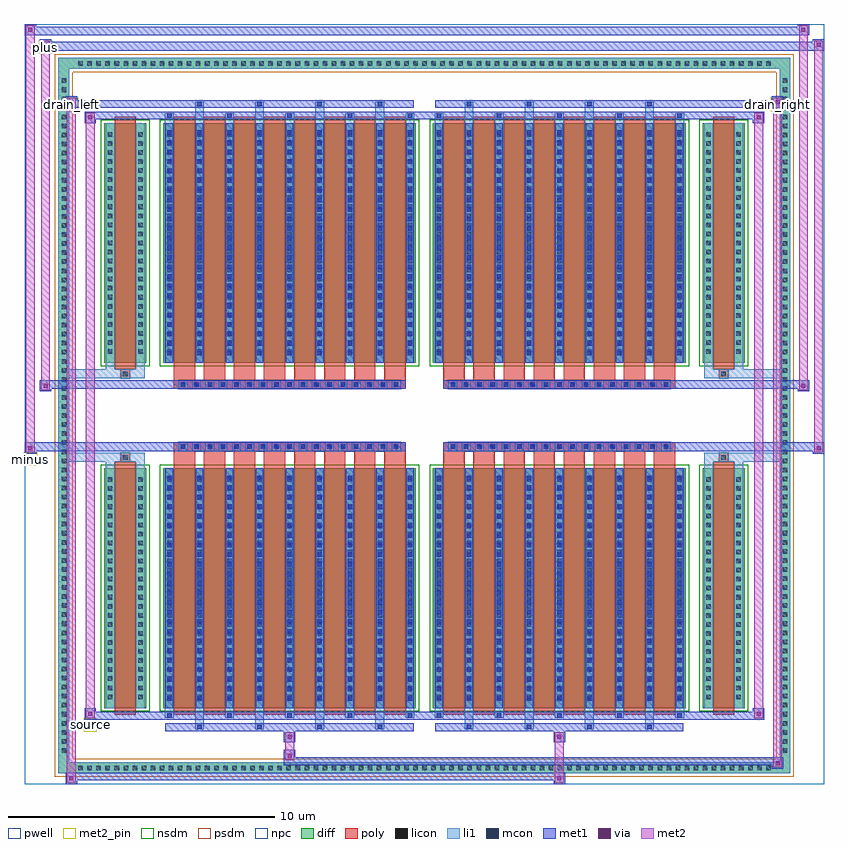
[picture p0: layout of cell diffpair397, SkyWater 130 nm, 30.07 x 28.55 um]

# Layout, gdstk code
import gdstk
lib = gdstk.Library(unit=1e-6, precision=5e-09)
def R(c, l, rs):  # rectangles x0, y0, x1, y1
    for r in rs: c.add(gdstk.rectangle(r[:2], r[2:], *l))
def A(c, l, x, y, w, h, nx, ny, dx, dy):  # array of equal rectangles
    R(c, l, [(x+i*dx, y+j*dy, x+i*dx+w, y+j*dy+h) for i in range(nx) for j in range(ny)])
def P(c, l, *ps):  # polygons
    for p in ps: c.add(gdstk.Polygon(p, *l))
pwell = (64, 44)
diff = (65, 20)
poly = (66, 20)
licon = (66, 44)
li1 = (67, 20)
mcon = (67, 44)
met1 = (68, 20)
via = (68, 44)
met2_pin = (69, 16)
met2 = (69, 20)
nsdm = (93, 44)
psdm = (94, 20)
npc = (95, 20)

diffpair397 = lib.new_cell('diffpair397')
R(diffpair397, pwell, [(-15.02,-13.84,15.02,14.71), (-12.34,-12.03,-0.01,-0.805), (0.01,-12.03,12.34,-0.805), (-12.34,0.805,-0.01,12.03), (0.01,0.805,12.34,12.03)])
A(diffpair397, diff, -13.125, -13.44, 0.41, 0.41, 77, 2, 0.34, 26.47)
A(diffpair397, diff, -13.75, -12.785, 0.41, 0.41, 1, 75, 0, 0.34)
A(diffpair397, diff, 13.34, -12.785, 0.41, 0.41, 1, 75, 0, 0.34)
R(diffpair397, diff, [(-13.125,-13.44,13.125,-13.03), (-13.75,-12.785,-13.34,12.785), (13.34,-12.785,13.75,12.785), (-12.03,-10.985,-10.45,-1.985), (-9.81,-10.985,-0.32,-1.985), (0.32,-10.985,9.81,-1.985), (10.45,-10.985,12.03,-1.985), (-12.03,1.985,-10.45,10.985), (-9.81,1.985,-0.32,10.985), (0.32,1.985,9.81,10.985), (10.45,1.985,12.03,10.985), (-13.125,13.03,13.125,13.44)])
P(diffpair397, diff, [(13.75,13.44),(-13.75,13.44),(-13.75,-13.03),(-13.34,-13.03),(-13.34,13.03),(13.34,13.03),(13.34,-13.03),(-13.34,-13.03),(-13.75,-13.03),(-13.75,-13.44),(13.75,-13.44)])
A(diffpair397, poly, -9.42, -11.235, 0.8, 9.5, 8, 2, 1.13, 12.97)
A(diffpair397, poly, 0.71, -11.235, 0.8, 9.5, 8, 2, 1.13, 12.97)
A(diffpair397, poly, -9.42, -1.735, 0.8, 0.4, 8, 2, 1.13, 3.07)
A(diffpair397, poly, 0.71, -1.735, 0.8, 0.4, 8, 2, 1.13, 3.07)
A(diffpair397, poly, -9.23, -1.335, 0.33, 0.33, 17, 2, 0.5, 2.34)
A(diffpair397, poly, 0.9, -1.335, 0.33, 0.33, 17, 2, 0.5, 2.34)
R(diffpair397, poly, [(-11.64,-11.235,-10.84,-1.735), (10.84,-11.235,11.64,-1.735), (-11.405,-1.735,-11.075,-1.405), (-11.405,-1.735,-11.075,-1.405), (11.075,-1.735,11.405,-1.405), (11.075,-1.735,11.405,-1.405), (-9.42,-1.335,-0.71,-1.005), (0.71,-1.335,9.42,-1.005), (-9.42,1.005,-0.71,1.335), (0.71,1.005,9.42,1.335), (-11.405,1.405,-11.075,1.735), (-11.405,1.405,-11.075,1.735), (11.075,1.405,11.405,1.735), (11.075,1.405,11.405,1.735), (-11.64,1.735,-10.84,11.235), (10.84,1.735,11.64,11.235)])
A(diffpair397, licon, -13.005, -13.32, 0.17, 0.17, 77, 2, 0.34, 26.47)
A(diffpair397, licon, -13.63, -12.665, 0.17, 0.17, 1, 75, 0, 0.34)
A(diffpair397, licon, 13.46, -12.665, 0.17, 0.17, 1, 75, 0, 0.34)
A(diffpair397, licon, -11.89, -10.65, 0.17, 0.17, 1, 25, 0, 0.34)
A(diffpair397, licon, -10.76, -10.65, 0.17, 0.17, 1, 25, 0, 0.34)
A(diffpair397, licon, -9.67, -10.65, 0.17, 0.17, 9, 25, 1.13, 0.34)
A(diffpair397, licon, 0.46, -10.65, 0.17, 0.17, 9, 25, 1.13, 0.34)
A(diffpair397, licon, 10.59, -10.65, 0.17, 0.17, 1, 25, 0, 0.34)
A(diffpair397, licon, 11.72, -10.65, 0.17, 0.17, 1, 25, 0, 0.34)
A(diffpair397, licon, -9.15, -1.255, 0.17, 0.17, 17, 2, 0.5, 2.34)
A(diffpair397, licon, 0.98, -1.255, 0.17, 0.17, 17, 2, 0.5, 2.34)
A(diffpair397, licon, -11.89, 2.32, 0.17, 0.17, 1, 25, 0, 0.34)
A(diffpair397, licon, -10.76, 2.32, 0.17, 0.17, 1, 25, 0, 0.34)
A(diffpair397, licon, -9.67, 2.32, 0.17, 0.17, 9, 25, 1.13, 0.34)
A(diffpair397, licon, 0.46, 2.32, 0.17, 0.17, 9, 25, 1.13, 0.34)
A(diffpair397, licon, 10.59, 2.32, 0.17, 0.17, 1, 25, 0, 0.34)
A(diffpair397, licon, 11.72, 2.32, 0.17, 0.17, 1, 25, 0, 0.34)
R(diffpair397, licon, [(-11.325,-1.655,-11.155,-1.485), (11.155,-1.655,11.325,-1.485), (-11.325,1.485,-11.155,1.655), (11.155,1.485,11.325,1.655)])
A(diffpair397, li1, -13.085, -13.4, 0.33, 0.33, 77, 2, 0.34, 26.47)
A(diffpair397, li1, -13.71, -12.745, 0.33, 0.33, 1, 75, 0, 0.34)
A(diffpair397, li1, 13.38, -12.745, 0.33, 0.33, 1, 75, 0, 0.34)
A(diffpair397, li1, -8.62, -11.79, 0.33, 0.805, 4, 2, 2.26, 22.775)
A(diffpair397, li1, -8.54, -11.79, 0.17, 0.17, 4, 2, 2.26, 23.41)
A(diffpair397, li1, 1.51, -11.79, 0.33, 0.805, 4, 2, 2.26, 22.775)
A(diffpair397, li1, 1.59, -11.79, 0.17, 0.17, 4, 2, 2.26, 23.41)
A(diffpair397, li1, -9.75, -11.36, 0.33, 0.375, 5, 2, 2.26, 22.345)
A(diffpair397, li1, -9.67, -11.36, 0.17, 0.17, 5, 2, 2.26, 22.55)
A(diffpair397, li1, 0.38, -11.36, 0.33, 0.375, 5, 2, 2.26, 22.345)
A(diffpair397, li1, 0.46, -11.36, 0.17, 0.17, 5, 2, 2.26, 22.55)
A(diffpair397, li1, -9.75, -10.985, 0.33, 9, 9, 2, 1.13, 12.97)
A(diffpair397, li1, 0.38, -10.985, 0.33, 9, 9, 2, 1.13, 12.97)
A(diffpair397, li1, -11.97, -10.73, 0.33, 0.33, 1, 25, 0, 0.34)
A(diffpair397, li1, -10.84, -10.73, 0.33, 0.33, 1, 25, 0, 0.34)
A(diffpair397, li1, -9.75, -10.73, 0.33, 0.33, 9, 25, 1.13, 0.34)
A(diffpair397, li1, 0.38, -10.73, 0.33, 0.33, 9, 25, 1.13, 0.34)
A(diffpair397, li1, 10.51, -10.73, 0.33, 0.33, 1, 25, 0, 0.34)
A(diffpair397, li1, 11.64, -10.73, 0.33, 0.33, 1, 25, 0, 0.34)
A(diffpair397, li1, -9.67, -10.71, 0.17, 0.17, 9, 24, 1.13, 0.36)
A(diffpair397, li1, -9.67, -10.71, 0.17, 8.45, 9, 2, 1.13, 12.97)
A(diffpair397, li1, 0.46, -10.71, 0.17, 0.17, 9, 24, 1.13, 0.36)
A(diffpair397, li1, 0.46, -10.71, 0.17, 8.45, 9, 2, 1.13, 12.97)
A(diffpair397, li1, -9.23, -1.335, 0.33, 0.33, 17, 2, 0.5, 2.34)
A(diffpair397, li1, 0.9, -1.335, 0.33, 0.33, 17, 2, 0.5, 2.34)
A(diffpair397, li1, -11.97, 2.24, 0.33, 0.33, 1, 25, 0, 0.34)
A(diffpair397, li1, -10.84, 2.24, 0.33, 0.33, 1, 25, 0, 0.34)
A(diffpair397, li1, -9.75, 2.24, 0.33, 0.33, 9, 25, 1.13, 0.34)
A(diffpair397, li1, 0.38, 2.24, 0.33, 0.33, 9, 25, 1.13, 0.34)
A(diffpair397, li1, 10.51, 2.24, 0.33, 0.33, 1, 25, 0, 0.34)
A(diffpair397, li1, 11.64, 2.24, 0.33, 0.33, 1, 25, 0, 0.34)
A(diffpair397, li1, -9.67, 2.26, 0.17, 0.17, 9, 24, 1.13, 0.36)
A(diffpair397, li1, 0.46, 2.26, 0.17, 0.17, 9, 24, 1.13, 0.36)
R(diffpair397, li1, [(-13.75,-13.44,-13.34,-13.03), (-13.75,-13.44,-13.34,-13.03), (-13.34,-13.44,13.34,-13.03), (13.34,-13.44,13.75,-13.03), (13.34,-13.44,13.75,-13.03), (-13.75,-13.03,-13.34,13.03), (13.34,-13.03,13.75,13.03), (-11.97,-10.985,-11.64,-1.985), (-10.84,-10.985,-10.51,-1.985), (10.51,-10.985,10.84,-1.985), (11.64,-10.985,11.97,-1.985), (-11.97,-1.985,-11.64,-1.405), (-10.84,-1.985,-10.51,-1.405), (10.51,-1.985,10.84,-1.405), (11.64,-1.985,11.97,-1.405), (-13.75,-1.735,-11.405,-1.405), (-11.97,-1.735,-11.405,-1.405), (-11.405,-1.735,-11.075,-1.405), (-11.075,-1.735,-10.51,-1.405), (10.51,-1.735,11.075,-1.405), (11.075,-1.735,11.405,-1.405), (11.075,-1.735,13.75,-1.405), (11.405,-1.735,11.97,-1.405), (-13.75,1.405,-11.405,1.735), (-11.97,1.405,-11.405,1.735), (-11.97,1.405,-11.64,1.985), (-11.405,1.405,-11.075,1.735), (-11.075,1.405,-10.51,1.735), (-10.84,1.405,-10.51,1.985), (10.51,1.405,11.075,1.735), (10.51,1.405,10.84,1.985), (11.075,1.405,11.405,1.735), (11.075,1.405,13.75,1.735), (11.405,1.405,11.97,1.735), (11.64,1.405,11.97,1.985), (-11.97,1.985,-11.64,10.985), (-10.84,1.985,-10.51,10.985), (10.51,1.985,10.84,10.985), (11.64,1.985,11.97,10.985), (-13.75,13.03,-13.34,13.44), (-13.75,13.03,-13.34,13.44), (-13.34,13.03,13.34,13.44), (13.34,13.03,13.75,13.44), (13.34,13.03,13.75,13.44)])
A(diffpair397, mcon, -8.54, -11.79, 0.17, 0.17, 4, 2, 2.26, 23.41)
A(diffpair397, mcon, 1.59, -11.79, 0.17, 0.17, 4, 2, 2.26, 23.41)
A(diffpair397, mcon, -9.67, -11.36, 0.17, 0.17, 5, 2, 2.26, 22.55)
A(diffpair397, mcon, 0.46, -11.36, 0.17, 0.17, 5, 2, 2.26, 22.55)
A(diffpair397, mcon, -9.67, -10.71, 0.17, 0.17, 9, 24, 1.13, 0.36)
A(diffpair397, mcon, 0.46, -10.71, 0.17, 0.17, 9, 24, 1.13, 0.36)
A(diffpair397, mcon, -9.15, -1.255, 0.17, 0.17, 17, 2, 0.5, 2.34)
A(diffpair397, mcon, 0.98, -1.255, 0.17, 0.17, 17, 2, 0.5, 2.34)
A(diffpair397, mcon, -9.67, 2.26, 0.17, 0.17, 9, 24, 1.13, 0.36)
A(diffpair397, mcon, 0.46, 2.26, 0.17, 0.17, 9, 24, 1.13, 0.36)
A(diffpair397, met1, -8.6, -11.85, 0.29, 0.29, 4, 2, 2.26, 23.41)
A(diffpair397, met1, 1.53, -11.85, 0.29, 0.29, 4, 2, 2.26, 23.41)
A(diffpair397, met1, -9.73, -11.42, 0.29, 0.29, 5, 2, 2.26, 22.55)
A(diffpair397, met1, 0.4, -11.42, 0.29, 0.29, 5, 2, 2.26, 22.55)
A(diffpair397, met1, -9.73, -10.985, 0.29, 9, 9, 2, 1.13, 12.97)
A(diffpair397, met1, 0.4, -10.985, 0.29, 9, 9, 2, 1.13, 12.97)
A(diffpair397, met1, -9.73, -10.77, 0.29, 0.29, 9, 24, 1.13, 0.36)
A(diffpair397, met1, 0.4, -10.77, 0.29, 0.29, 9, 24, 1.13, 0.36)
A(diffpair397, met1, -9.21, -1.315, 0.29, 0.29, 17, 2, 0.5, 2.34)
A(diffpair397, met1, 0.92, -1.315, 0.29, 0.29, 17, 2, 0.5, 2.34)
A(diffpair397, met1, -9.73, 2.2, 0.29, 0.29, 9, 24, 1.13, 0.36)
A(diffpair397, met1, 0.4, 2.2, 0.29, 0.29, 9, 24, 1.13, 0.36)
R(diffpair397, met1, [(-13.48,-13.84,-13.05,-13.41), (4.85,-13.84,5.28,-13.41), (-13.48,-13.7,5.28,-13.41), (13.05,-13.27,13.48,-12.84), (-5.28,-13.13,13.48,-12.84), (-5.28,-12.99,-4.85,-12.56), (-5.28,-12.28,-4.85,-11.85), (4.85,-12.28,5.28,-11.85), (-9.73,-11.85,-0.4,-11.56), (0.4,-11.85,9.73,-11.56), (-12.77,-11.42,-12.34,-10.99), (-12.77,-11.42,-9.73,-11.13), (-9.73,-11.42,-0.4,-11.13), (-0.4,-11.42,0.4,-11.13), (0.4,-11.42,9.73,-11.13), (9.73,-11.42,12.77,-11.13), (12.34,-11.42,12.77,-10.99), (-15.02,-1.435,-14.59,-1.005), (14.59,-1.435,15.02,-1.005), (-15.02,-1.335,-0.71,-1.005), (-9.42,-1.335,-0.71,-1.005), (0.71,-1.335,9.42,-1.005), (0.71,-1.335,15.02,-1.005), (-14.45,0.905,-14.02,1.335), (14.02,0.905,14.45,1.335), (-14.45,1.005,-9.42,1.335), (-9.42,1.005,-0.71,1.335), (0.71,1.005,9.42,1.335), (9.42,1.005,14.45,1.335), (-12.77,10.99,-12.34,11.42), (12.34,10.99,12.77,11.42), (-12.77,11.13,-9.73,11.42), (-9.73,11.13,-0.4,11.42), (-0.4,11.13,0.4,11.42), (0.4,11.13,9.73,11.42), (9.73,11.13,12.77,11.42), (-13.48,11.56,-13.05,11.99), (-13.48,11.56,-9.73,11.85), (-9.73,11.56,-0.4,11.85), (0.4,11.56,9.73,11.85), (9.73,11.56,13.48,11.85), (13.05,11.56,13.48,11.99), (-14.45,13.71,-14.02,14.14), (-14.45,13.71,-12.34,14.04), (-12.34,13.71,12.34,14.04), (12.34,13.71,15.02,14.04), (14.59,13.71,15.02,14.14), (-15.02,14.28,-14.59,14.71), (-15.02,14.28,-12.34,14.61), (-12.34,14.28,12.34,14.61), (12.34,14.28,14.45,14.61), (14.02,14.28,14.45,14.71)])
R(diffpair397, via, [(-13.34,-13.7,-13.19,-13.55), (4.99,-13.7,5.14,-13.55), (13.19,-13.13,13.34,-12.98), (-5.14,-12.85,-4.99,-12.7), (-5.14,-12.14,-4.99,-11.99), (4.99,-12.14,5.14,-11.99), (-12.63,-11.28,-12.48,-11.13), (12.48,-11.28,12.63,-11.13), (-14.88,-1.295,-14.73,-1.145), (14.73,-1.295,14.88,-1.145), (-14.31,1.045,-14.16,1.195), (14.16,1.045,14.31,1.195), (-12.63,11.13,-12.48,11.28), (12.48,11.13,12.63,11.28), (-13.34,11.7,-13.19,11.85), (13.19,11.7,13.34,11.85), (-14.31,13.85,-14.16,14), (14.73,13.85,14.88,14), (-14.88,14.42,-14.73,14.57), (14.16,14.42,14.31,14.57)])
R(diffpair397, met2_pin, [(-12.805,-11.87,-12.305,-11.37), (-15.055,-1.885,-14.555,-1.385), (-13.515,11.44,-13.015,11.94), (13.015,11.44,13.515,11.94), (-14.485,13.59,-13.985,14.09)])
R(diffpair397, met2, [(-13.43,-13.79,-13.1,-13.46), (-13.43,-13.79,-13.1,11.94), (4.9,-13.79,5.23,-13.46), (4.9,-13.46,5.23,-12.23), (13.1,-13.22,13.43,-12.89), (13.1,-13.22,13.43,11.94), (-5.23,-12.94,-4.9,-12.61), (-5.23,-12.61,-4.9,-12.23), (-5.23,-12.23,-4.9,-11.9), (4.9,-12.23,5.23,-11.9), (-12.72,-11.37,-12.39,-11.04), (-12.72,-11.37,-12.39,11.37), (12.39,-11.37,12.72,-11.04), (12.39,-11.37,12.72,11.37), (-14.97,-1.385,-14.64,-1.055), (-14.97,-1.385,-14.64,14.66), (14.64,-1.385,14.97,-1.055), (14.64,-1.385,14.97,14.09), (-14.4,0.955,-14.07,1.285), (-14.4,0.955,-14.07,14.09), (14.07,0.955,14.4,1.285), (14.07,0.955,14.4,14.66), (-12.72,11.04,-12.39,11.37), (12.39,11.04,12.72,11.37), (-13.43,11.61,-13.1,11.94), (13.1,11.61,13.43,11.94), (-14.4,13.76,-14.07,14.09), (14.64,13.76,14.97,14.09), (-14.97,14.33,-14.64,14.66), (14.07,14.33,14.4,14.66)])
P(diffpair397, met2, [(14.97,-1.385),(14.97,-1.385),(14.97,-1.055),(14.97,-1.055)],
  [(14.97,13.76),(14.97,13.76),(14.97,14.09),(14.97,14.09)],
  [(-14.64,-1.385),(-14.64,-1.385),(-14.64,-1.055),(-14.64,-1.055)],
  [(-14.64,14.33),(-14.64,14.33),(-14.64,14.66),(-14.64,14.66)],
  [(14.4,0.955),(14.4,0.955),(14.4,1.285),(14.4,1.285)],
  [(14.4,14.33),(14.4,14.33),(14.4,14.66),(14.4,14.66)],
  [(-14.07,0.955),(-14.07,0.955),(-14.07,1.285),(-14.07,1.285)],
  [(-14.07,13.76),(-14.07,13.76),(-14.07,14.09),(-14.07,14.09)],
  [(-13.1,-13.79),(-13.1,-13.79),(-13.1,-13.46),(-13.1,-13.46)],
  [(-13.1,11.61),(-13.1,11.61),(-13.1,11.94),(-13.1,11.94)],
  [(13.43,-13.22),(13.43,-13.22),(13.43,-12.89),(13.43,-12.89)],
  [(13.43,11.61),(13.43,11.61),(13.43,11.94),(13.43,11.94)],
  [(-12.39,-11.37),(-12.39,-11.37),(-12.39,-11.04),(-12.39,-11.04)],
  [(-12.39,11.04),(-12.39,11.04),(-12.39,11.37),(-12.39,11.37)],
  [(12.72,-11.37),(12.72,-11.37),(12.72,-11.04),(12.72,-11.04)],
  [(12.72,11.04),(12.72,11.04),(12.72,11.37),(12.72,11.37)])
R(diffpair397, nsdm, [(-12.16,-11.115,-10.32,-1.855), (-9.94,-11.115,-0.19,-1.855), (0.19,-11.115,9.94,-1.855), (10.32,-11.115,12.16,-1.855), (-12.16,1.855,-10.32,11.115), (-9.94,1.855,-0.19,11.115), (0.19,1.855,9.94,11.115), (10.32,1.855,12.16,11.115)])
P(diffpair397, psdm, [(13.88,13.57),(-13.88,13.57),(-13.88,-12.9),(-13.21,-12.9),(-13.21,12.9),(13.21,12.9),(13.21,-12.9),(-13.21,-12.9),(-13.88,-12.9),(-13.88,-13.57),(13.88,-13.57)])
A(diffpair397, npc, -9.25, -1.355, 0.37, 0.37, 17, 2, 0.5, 2.34)
A(diffpair397, npc, 0.88, -1.355, 0.37, 0.37, 17, 2, 0.5, 2.34)
R(diffpair397, npc, [(-11.425,-1.755,-11.055,-1.385), (11.055,-1.755,11.425,-1.385), (-9.25,-1.355,-8.38,-0.985), (-9.25,-1.355,-8.38,-0.985), (-8.75,-1.355,-7.88,-0.985), (-8.75,-1.355,-7.88,-0.985), (-8.25,-1.355,-7.38,-0.985), (-8.25,-1.355,-7.38,-0.985), (-7.75,-1.355,-6.88,-0.985), (-7.75,-1.355,-6.88,-0.985), (-7.25,-1.355,-6.38,-0.985), (-7.25,-1.355,-6.38,-0.985), (-6.75,-1.355,-5.88,-0.985), (-6.75,-1.355,-5.88,-0.985), (-6.25,-1.355,-5.38,-0.985), (-6.25,-1.355,-5.38,-0.985), (-5.75,-1.355,-4.88,-0.985), (-5.75,-1.355,-4.88,-0.985), (-5.25,-1.355,-4.38,-0.985), (-5.25,-1.355,-4.38,-0.985), (-4.75,-1.355,-3.88,-0.985), (-4.75,-1.355,-3.88,-0.985), (-4.25,-1.355,-3.38,-0.985), (-4.25,-1.355,-3.38,-0.985), (-3.75,-1.355,-2.88,-0.985), (-3.75,-1.355,-2.88,-0.985), (-3.25,-1.355,-2.38,-0.985), (-3.25,-1.355,-2.38,-0.985), (-2.75,-1.355,-1.88,-0.985), (-2.75,-1.355,-1.88,-0.985), (-2.25,-1.355,-1.38,-0.985), (-2.25,-1.355,-1.38,-0.985), (-1.75,-1.355,-0.88,-0.985), (-1.75,-1.355,-0.88,-0.985), (0.88,-1.355,1.75,-0.985), (0.88,-1.355,1.75,-0.985), (1.38,-1.355,2.25,-0.985), (1.38,-1.355,2.25,-0.985), (1.88,-1.355,2.75,-0.985), (1.88,-1.355,2.75,-0.985), (2.38,-1.355,3.25,-0.985), (2.38,-1.355,3.25,-0.985), (2.88,-1.355,3.75,-0.985), (2.88,-1.355,3.75,-0.985), (3.38,-1.355,4.25,-0.985), (3.38,-1.355,4.25,-0.985), (3.88,-1.355,4.75,-0.985), (3.88,-1.355,4.75,-0.985), (4.38,-1.355,5.25,-0.985), (4.38,-1.355,5.25,-0.985), (4.88,-1.355,5.75,-0.985), (4.88,-1.355,5.75,-0.985), (5.38,-1.355,6.25,-0.985), (5.38,-1.355,6.25,-0.985), (5.88,-1.355,6.75,-0.985), (5.88,-1.355,6.75,-0.985), (6.38,-1.355,7.25,-0.985), (6.38,-1.355,7.25,-0.985), (6.88,-1.355,7.75,-0.985), (6.88,-1.355,7.75,-0.985), (7.38,-1.355,8.25,-0.985), (7.38,-1.355,8.25,-0.985), (7.88,-1.355,8.75,-0.985), (7.88,-1.355,8.75,-0.985), (8.38,-1.355,9.25,-0.985), (8.38,-1.355,9.25,-0.985), (-9.25,0.985,-8.38,1.355), (-9.25,0.985,-8.38,1.355), (-8.75,0.985,-7.88,1.355), (-8.75,0.985,-7.88,1.355), (-8.25,0.985,-7.38,1.355), (-8.25,0.985,-7.38,1.355), (-7.75,0.985,-6.88,1.355), (-7.75,0.985,-6.88,1.355), (-7.25,0.985,-6.38,1.355), (-7.25,0.985,-6.38,1.355), (-6.75,0.985,-5.88,1.355), (-6.75,0.985,-5.88,1.355), (-6.25,0.985,-5.38,1.355), (-6.25,0.985,-5.38,1.355), (-5.75,0.985,-4.88,1.355), (-5.75,0.985,-4.88,1.355), (-5.25,0.985,-4.38,1.355), (-5.25,0.985,-4.38,1.355), (-4.75,0.985,-3.88,1.355), (-4.75,0.985,-3.88,1.355), (-4.25,0.985,-3.38,1.355), (-4.25,0.985,-3.38,1.355), (-3.75,0.985,-2.88,1.355), (-3.75,0.985,-2.88,1.355), (-3.25,0.985,-2.38,1.355), (-3.25,0.985,-2.38,1.355), (-2.75,0.985,-1.88,1.355), (-2.75,0.985,-1.88,1.355), (-2.25,0.985,-1.38,1.355), (-2.25,0.985,-1.38,1.355), (-1.75,0.985,-0.88,1.355), (-1.75,0.985,-0.88,1.355), (0.88,0.985,1.75,1.355), (0.88,0.985,1.75,1.355), (1.38,0.985,2.25,1.355), (1.38,0.985,2.25,1.355), (1.88,0.985,2.75,1.355), (1.88,0.985,2.75,1.355), (2.38,0.985,3.25,1.355), (2.38,0.985,3.25,1.355), (2.88,0.985,3.75,1.355), (2.88,0.985,3.75,1.355), (3.38,0.985,4.25,1.355), (3.38,0.985,4.25,1.355), (3.88,0.985,4.75,1.355), (3.88,0.985,4.75,1.355), (4.38,0.985,5.25,1.355), (4.38,0.985,5.25,1.355), (4.88,0.985,5.75,1.355), (4.88,0.985,5.75,1.355), (5.38,0.985,6.25,1.355), (5.38,0.985,6.25,1.355), (5.88,0.985,6.75,1.355), (5.88,0.985,6.75,1.355), (6.38,0.985,7.25,1.355), (6.38,0.985,7.25,1.355), (6.88,0.985,7.75,1.355), (6.88,0.985,7.75,1.355), (7.38,0.985,8.25,1.355), (7.38,0.985,8.25,1.355), (7.88,0.985,8.75,1.355), (7.88,0.985,8.75,1.355), (8.38,0.985,9.25,1.355), (8.38,0.985,9.25,1.355), (-11.425,1.385,-11.055,1.755), (11.055,1.385,11.425,1.755)])
diffpair397.add(gdstk.Label('minus', (-14.805,-1.635), layer=69, texttype=5))
diffpair397.add(gdstk.Label('drain_right', (13.265,11.69), layer=69, texttype=5))
diffpair397.add(gdstk.Label('drain_left', (-13.265,11.69), layer=69, texttype=5))
diffpair397.add(gdstk.Label('source', (-12.555,-11.62), layer=69, texttype=5))
diffpair397.add(gdstk.Label('plus', (-14.235,13.84), layer=69, texttype=5))

lib.write_gds('diffpair397.gds')
